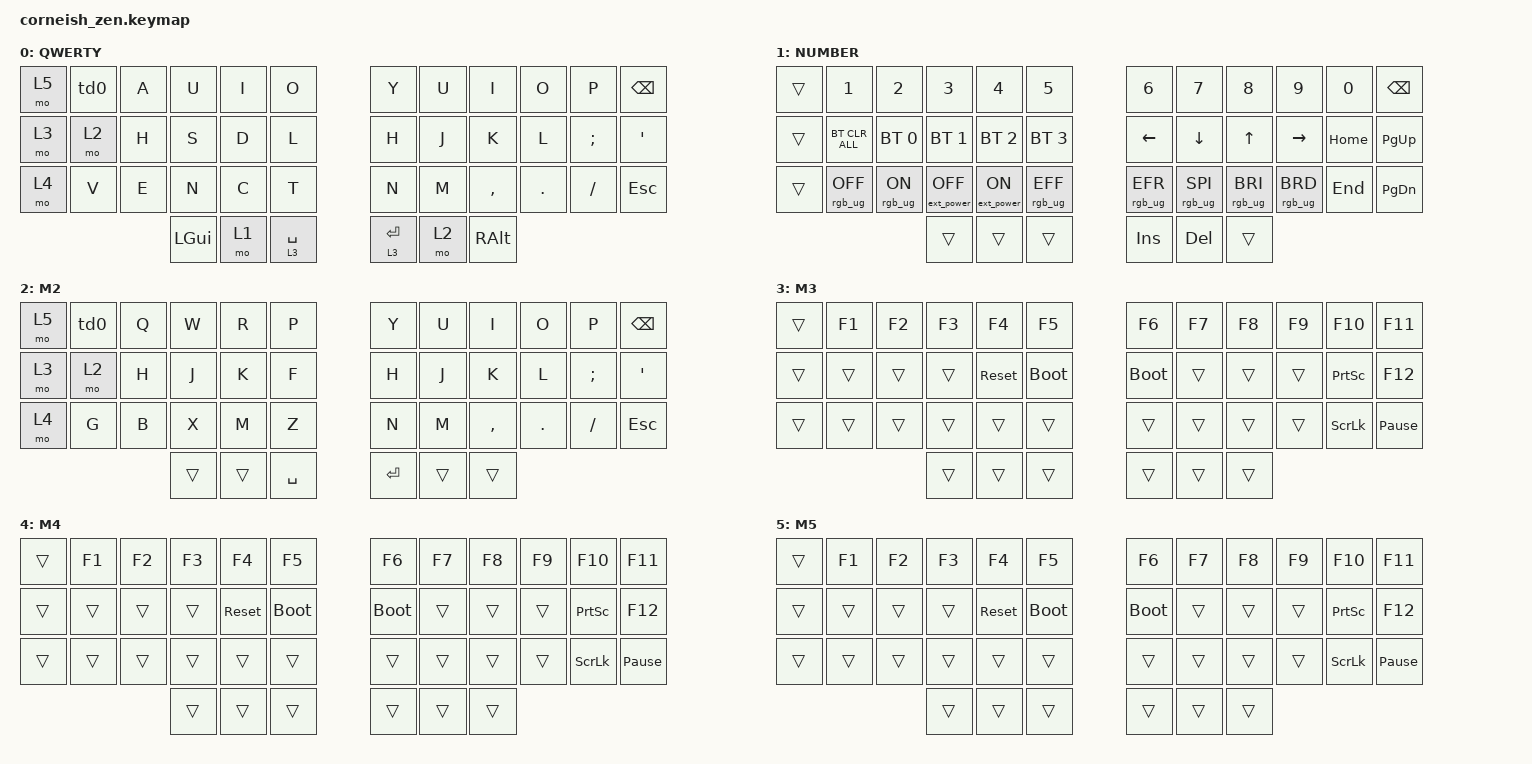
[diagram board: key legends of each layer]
/*
 * Copyright (c) 2020 The ZMK Contributors
 *
 * SPDX-License-Identifier: MIT
 */

#include <behaviors.dtsi>
#include <dt-bindings/zmk/bt.h>
#include <dt-bindings/zmk/ext_power.h>
#include <dt-bindings/zmk/keys.h>
#include <dt-bindings/zmk/outputs.h>
#include <dt-bindings/zmk/rgb.h>

/ {
    chosen {
        zmk,matrix_transform = &default_transform;

        // zmk,matrix_transform = &five_column_transform;
    };
};

/ {
    behaviors {
        td0: td0 {
            compatible = "zmk,behavior-tap-dance";
            label = "TD0";
            #binding-cells = <0>;
            bindings = <&kp LEFT_SHIFT>, <&kp CAPS>;
        };
    };

    keymap {
        compatible = "zmk,keymap";

        default_layer {
            display-name = "QWERTY";

            // --------------------------------------------------------------------------------
            // |  TAB |  Q  |  W  |  E  |  R  |  T  |   |  Y  |  U   |  I  |  O  |  P  | BKSP |
            // | CTRL |  A  |  S  |  D  |  F  |  G  |   |  H  |  J   |  K  |  L  |  ;  |  '   | 
            // | SHFT |  Z  |  X  |  C  |  V  |  B  |   |  N  |  M   |  ,  |  .  |  /  | ESC  |
            //                    | GUI | LWR | SPC |   | ENT | RSE  | ALT |

            bindings = <
&mo 5  &td0   &kp A  &kp U  &kp I  &kp O          &kp Y        &kp U  &kp I      &kp O    &kp P     &kp BSPC
&mo 3  &mo 2  &kp H  &kp S  &kp D  &kp L          &kp H        &kp J  &kp K      &kp L    &kp SEMI  &kp SQT
&mo 4  &kp V  &kp E  &kp N  &kp C  &kp T          &kp N        &kp M  &kp COMMA  &kp DOT  &kp FSLH  &kp ESC
                         &kp LGUI  &mo 1  &lt 3 SPACE    &lt 3 ENTER  &mo 2  &kp RALT
            >;
        };

        lower_layer {
            display-name = "NUMBER";

            // -----------------------------------------------------------------------------------------
            // |  TAB |  1  |  2  |  3  |  4  |  5  |   |  6  |  7  |  8  |  9  |  0  | BKSP |
            // | BTCLR| BT1 | BT2 | BT3 | BT4 | BT5 |   | LFT | DWN |  UP | RGT |     |      |
            // | SHFT |     |     |     |     |     |   |     |     |     |     |     |      |
            //                    | GUI |     | SPC |   | ENT |     | ALT |

            bindings = <
&trans  &kp N1           &kp N2          &kp N3             &kp N4            &kp N5             &kp N6           &kp N7           &kp N8           &kp N9           &kp N0    &kp BSPC
&trans  &bt BT_CLR_ALL   &bt BT_SEL 0    &bt BT_SEL 1       &bt BT_SEL 2      &bt BT_SEL 3       &kp LEFT         &kp DOWN         &kp UP           &kp RIGHT        &kp HOME  &kp PG_UP
&trans  &rgb_ug RGB_OFF  &rgb_ug RGB_ON  &ext_power EP_OFF  &ext_power EP_ON  &rgb_ug RGB_EFF    &rgb_ug RGB_EFR  &rgb_ug RGB_SPI  &rgb_ug RGB_BRI  &rgb_ug RGB_BRD  &kp END   &kp PG_DN
                                         &trans             &trans            &trans             &kp INS          &kp DEL          &trans
            >;
        };

        m2 {
            display-name = "M2";

            bindings = <
&mo 5  &td0   &kp Q  &kp W  &kp R  &kp P          &kp Y        &kp U  &kp I      &kp O    &kp P     &kp BSPC
&mo 3  &mo 2  &kp H  &kp J  &kp K  &kp F          &kp H        &kp J  &kp K      &kp L    &kp SEMI  &kp SQT
&mo 4  &kp G  &kp B  &kp X  &kp M  &kp Z          &kp N        &kp M  &kp COMMA  &kp DOT  &kp FSLH  &kp ESC
                                    &trans    &trans    &kp SPACE    &kp RET    &trans     &trans
            >;
        };

        m3 {
            display-name = "M3";
            bindings = <
&trans  &kp F1  &kp F2  &kp F3  &kp F4      &kp F5         &kp F6       &kp F7  &kp F8  &kp F9  &kp F10          &kp F11
&trans  &trans  &trans  &trans  &sys_reset  &bootloader    &bootloader  &trans  &trans  &trans  &kp PRINTSCREEN  &kp F12
&trans  &trans  &trans  &trans  &trans      &trans         &trans       &trans  &trans  &trans  &kp SCROLLLOCK   &kp PAUSE_BREAK
                        &trans  &trans      &trans         &trans       &trans  &trans
            >;
        };

        m4 {
            display-name = "M4";
            bindings = <
&trans  &kp F1  &kp F2  &kp F3  &kp F4      &kp F5         &kp F6       &kp F7  &kp F8  &kp F9  &kp F10          &kp F11
&trans  &trans  &trans  &trans  &sys_reset  &bootloader    &bootloader  &trans  &trans  &trans  &kp PRINTSCREEN  &kp F12
&trans  &trans  &trans  &trans  &trans      &trans         &trans       &trans  &trans  &trans  &kp SCROLLLOCK   &kp PAUSE_BREAK
                        &trans  &trans      &trans         &trans       &trans  &trans
            >;
        };


        m5 {
            display-name = "M5";
            bindings = <
&trans  &kp F1  &kp F2  &kp F3  &kp F4      &kp F5         &kp F6       &kp F7  &kp F8  &kp F9  &kp F10          &kp F11
&trans  &trans  &trans  &trans  &sys_reset  &bootloader    &bootloader  &trans  &trans  &trans  &kp PRINTSCREEN  &kp F12
&trans  &trans  &trans  &trans  &trans      &trans         &trans       &trans  &trans  &trans  &kp SCROLLLOCK   &kp PAUSE_BREAK
                        &trans  &trans      &trans         &trans       &trans  &trans
            >;
        };
    };
};
